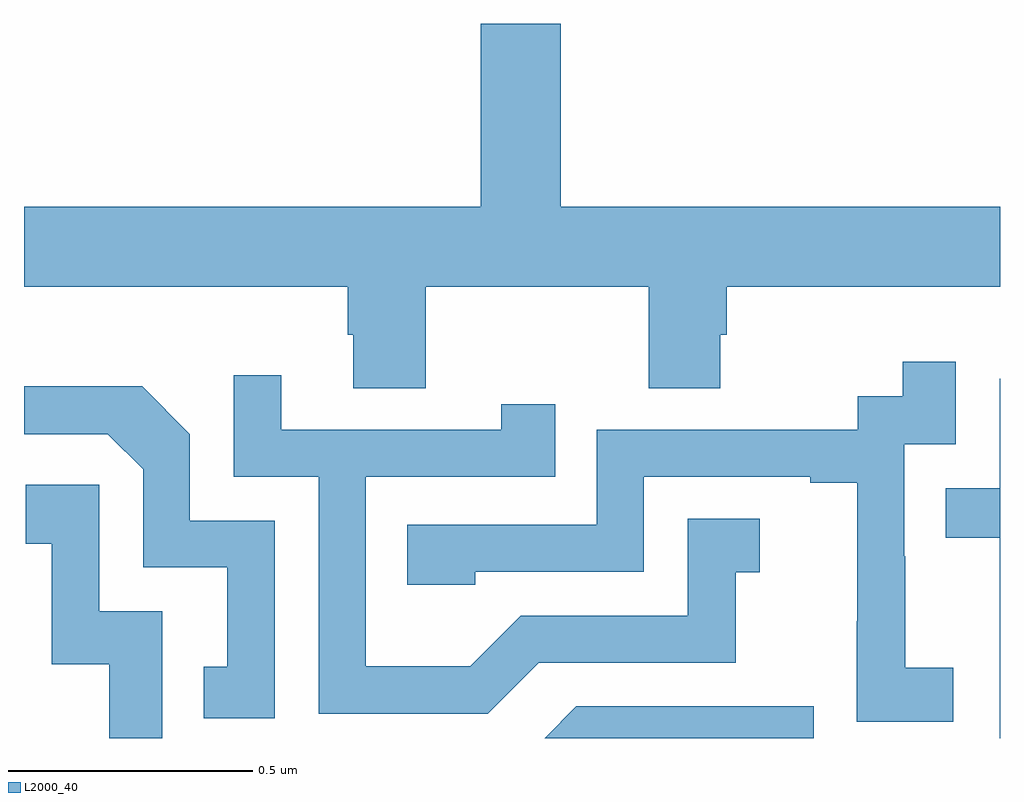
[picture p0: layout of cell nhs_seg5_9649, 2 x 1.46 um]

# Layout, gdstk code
import gdstk
lib = gdstk.Library(unit=1e-6, precision=1e-09)
def P(c, l, *ps):  # polygons
    for p in ps: c.add(gdstk.Polygon(p, *l))
L2000_40 = (2000, 40)

nhs_seg5_9649 = lib.new_cell('nhs_seg5_9649')
P(nhs_seg5_9649, L2000_40, [(236.823,892.724),(237.28,892.724),(237.28,892.516),(237.427,892.516),(237.427,892.626),(237.44,892.626),(237.44,892.724),(238,892.724),(238,892.888),(237.1,892.888),(237.1,893.263),(236.936,893.263),(236.936,892.888),(236,892.888),(236,892.724),(236.663,892.724),(236.663,892.626),(236.675,892.626),(236.675,892.516),(236.823,892.516)],
  [(237.904,891.943),(237.806,891.943),(237.806,892.172),(237.804,892.172),(237.804,892.401),(237.909,892.401),(237.909,892.57),(237.801,892.57),(237.801,892.5),(237.708,892.5),(237.708,892.431),(237.174,892.431),(237.174,892.236),(236.785,892.236),(236.785,892.113),(236.925,892.113),(236.925,892.14),(237.27,892.14),(237.27,892.335),(237.611,892.335),(237.611,892.323),(237.707,892.323),(237.707,892.039),(237.706,892.039),(237.706,891.833),(237.904,891.833)],
  [(237.055,891.954),(237.459,891.954),(237.459,892.139),(237.508,892.139),(237.508,892.249),(237.36,892.249),(237.36,892.05),(237.018,892.05),(236.914,891.946),(236.7,891.946),(236.7,892.335),(237.089,892.335),(237.089,892.483),(236.978,892.483),(236.978,892.431),(236.527,892.431),(236.527,892.543),(236.43,892.543),(236.43,892.335),(236.604,892.335),(236.604,891.849),(236.95,891.849)],
  [(238,892.536),(237.999,892.536),(237.999,892.311),(237.889,892.311),(237.889,892.21),(237.999,892.21),(237.999,891.799),(238,891.799)],
  [(236.514,892.245),(236.34,892.245),(236.34,892.422),(236.242,892.52),(236,892.52),(236,892.422),(236.172,892.422),(236.244,892.35),(236.244,892.149),(236.417,892.149),(236.417,891.945),(236.368,891.945),(236.368,891.84),(236.514,891.84)],
  [(236.283,892.059),(236.154,892.059),(236.154,892.318),(236.004,892.318),(236.004,892.197),(236.057,892.197),(236.057,891.951),(236.175,891.951),(236.175,891.799),(236.283,891.799)],
  [(237.618,891.864),(237.132,891.864),(237.067,891.799),(237.618,891.799)])

lib.write_gds('nhs_seg5_9649.gds')
